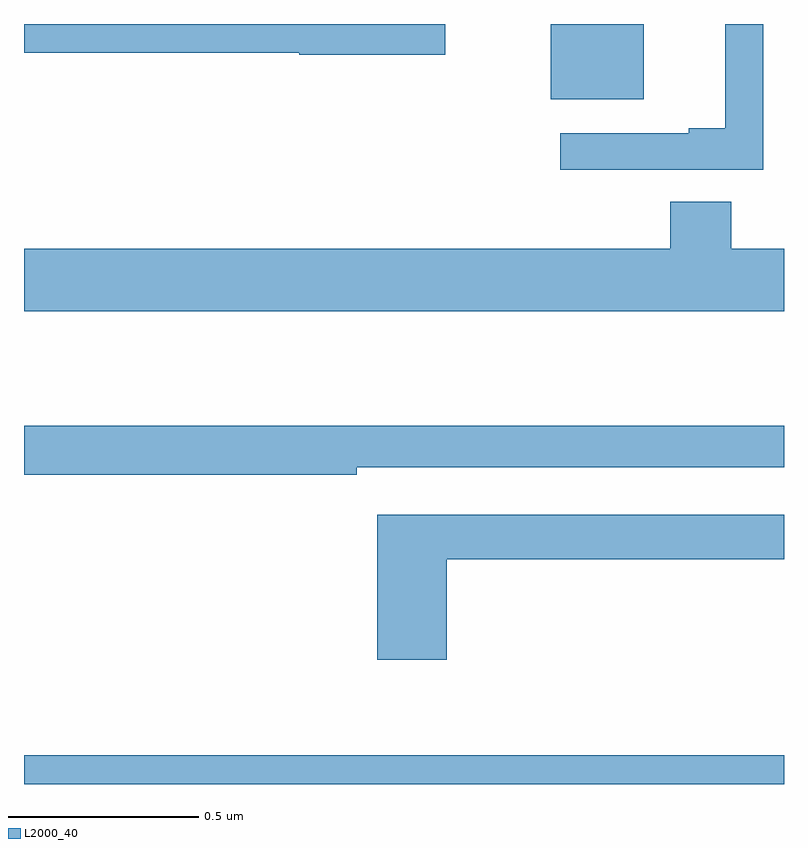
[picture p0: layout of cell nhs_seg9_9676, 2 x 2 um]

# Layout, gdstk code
import gdstk
lib = gdstk.Library(unit=1e-6, precision=1e-09)
def R(c, l, rs):  # rectangles x0, y0, x1, y1
    for r in rs: c.add(gdstk.rectangle(r[:2], r[2:], *l))
def P(c, l, *ps):  # polygons
    for p in ps: c.add(gdstk.Polygon(p, *l))
L2000_40 = (2000, 40)

nhs_seg9_9676 = lib.new_cell('nhs_seg9_9676')
R(nhs_seg9_9676, L2000_40, [(233,1204.5,235,1204.576), (234.386,1206.302,234.631,1206.5)])
P(nhs_seg9_9676, L2000_40, [(234.945,1206.5),(234.845,1206.5),(234.845,1206.226),(234.749,1206.226),(234.749,1206.213),(234.411,1206.213),(234.411,1206.117),(234.945,1206.117)],
  [(234.109,1206.5),(233,1206.5),(233,1206.424),(233.724,1206.424),(233.724,1206.419),(234.109,1206.419)],
  [(235,1205.908),(234.861,1205.908),(234.861,1206.032),(234.701,1206.032),(234.701,1205.908),(233,1205.908),(233,1205.744),(235,1205.744)],
  [(233.876,1205.334),(235,1205.334),(235,1205.443),(233,1205.443),(233,1205.314),(233.876,1205.314)],
  [(234.113,1205.092),(235,1205.092),(235,1205.208),(233.93,1205.208),(233.93,1204.827),(234.113,1204.827)])

lib.write_gds('nhs_seg9_9676.gds')
